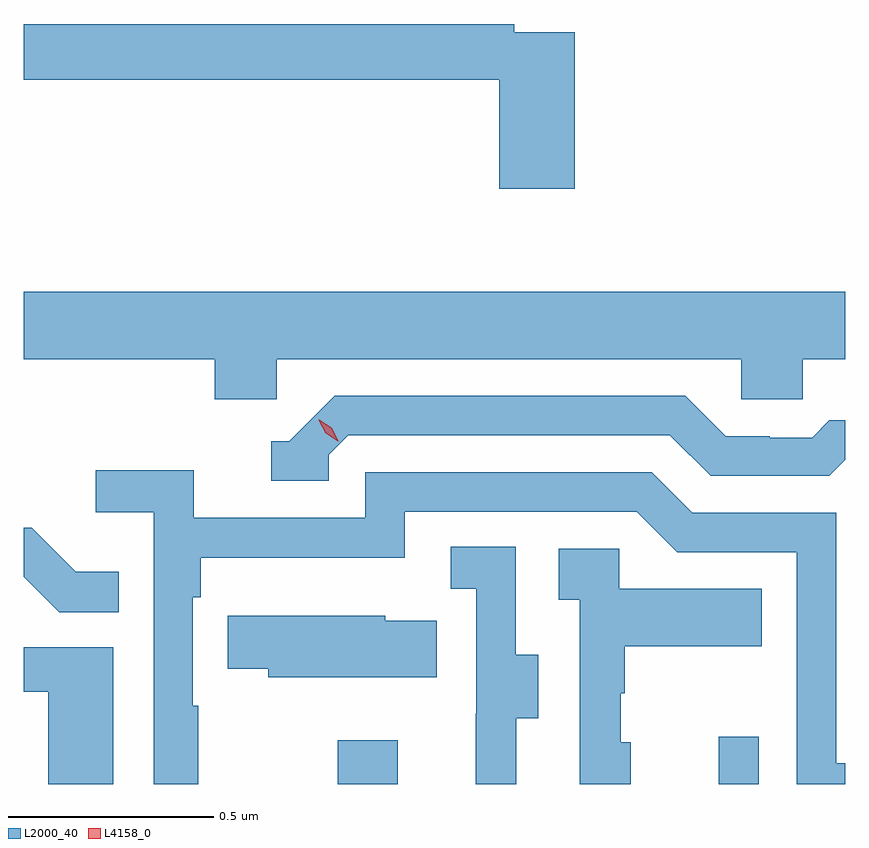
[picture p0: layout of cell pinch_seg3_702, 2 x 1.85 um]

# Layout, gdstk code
import gdstk
lib = gdstk.Library(unit=1e-6, precision=1e-09)
def R(c, l, rs):  # rectangles x0, y0, x1, y1
    for r in rs: c.add(gdstk.rectangle(r[:2], r[2:], *l))
def P(c, l, *ps):  # polygons
    for p in ps: c.add(gdstk.Polygon(p, *l))
L2000_40 = (2000, 40)
L4158_0 = (4158, 0)

pinch_seg3_702 = lib.new_cell('pinch_seg3_702')
R(pinch_seg3_702, L2000_40, [(1143.07,678.57,1143.217,678.676), (1143.998,678.57,1144.095,678.685)])
P(pinch_seg3_702, L2000_40, [(1143.647,680.4),(1143.5,680.4),(1143.5,680.42),(1142.306,680.42),(1142.306,680.284),(1143.464,680.284),(1143.464,680.019),(1143.647,680.019)],
  [(1142.922,679.604),(1144.053,679.604),(1144.053,679.506),(1144.203,679.506),(1144.203,679.604),(1144.306,679.604),(1144.306,679.768),(1142.306,679.768),(1142.306,679.604),(1142.771,679.604),(1142.771,679.506),(1142.922,679.506)],
  [(1143.048,679.371),(1143.096,679.419),(1143.879,679.419),(1143.978,679.32),(1144.267,679.32),(1144.306,679.359),(1144.306,679.456),(1144.267,679.456),(1144.225,679.413),(1144.122,679.413),(1144.122,679.416),(1144.015,679.416),(1143.916,679.515),(1143.063,679.515),(1142.952,679.404),(1142.909,679.404),(1142.909,679.308),(1143.048,679.308)],
  [(1142.731,678.761),(1142.718,678.761),(1142.718,679.025),(1142.737,679.025),(1142.737,679.121),(1143.234,679.121),(1143.234,679.233),(1143.798,679.233),(1143.897,679.134),(1144.188,679.134),(1144.188,678.57),(1144.306,678.57),(1144.306,678.621),(1144.284,678.621),(1144.284,679.23),(1143.934,679.23),(1143.835,679.329),(1143.138,679.329),(1143.138,679.218),(1142.72,679.218),(1142.72,679.334),(1142.481,679.334),(1142.481,679.232),(1142.622,679.232),(1142.622,678.57),(1142.731,678.57)],
  [(1142.537,679.087),(1142.433,679.087),(1142.326,679.194),(1142.306,679.194),(1142.306,679.075),(1142.393,678.988),(1142.537,678.988)],
  [(1143.505,678.73),(1143.559,678.73),(1143.559,678.885),(1143.504,678.885),(1143.504,679.148),(1143.345,679.148),(1143.345,679.045),(1143.408,679.045),(1143.408,678.741),(1143.407,678.741),(1143.407,678.57),(1143.505,678.57)],
  [(1143.784,678.672),(1143.759,678.672),(1143.759,678.791),(1143.769,678.791),(1143.769,678.905),(1144.103,678.905),(1144.103,679.045),(1143.756,679.045),(1143.756,679.143),(1143.609,679.143),(1143.609,679.019),(1143.66,679.019),(1143.66,678.57),(1143.784,678.57)],
  [(1143.311,678.967),(1143.186,678.967),(1143.186,678.979),(1142.803,678.979),(1142.803,678.85),(1142.901,678.85),(1142.901,678.83),(1143.311,678.83)],
  [(1142.524,678.903),(1142.306,678.903),(1142.306,678.795),(1142.366,678.795),(1142.366,678.57),(1142.524,678.57)])
P(pinch_seg3_702, L4158_0, [(1143.071,679.404),(1143.041,679.424),(1143.024,679.456),(1143.024,679.457),(1143.025,679.457),(1143.056,679.437),(1143.072,679.405),(1143.072,679.404)])

lib.write_gds('pinch_seg3_702.gds')
